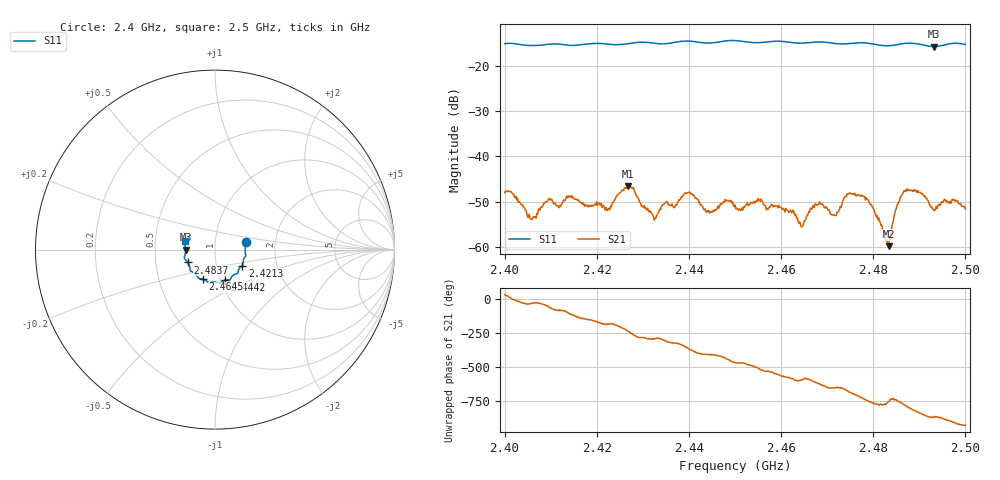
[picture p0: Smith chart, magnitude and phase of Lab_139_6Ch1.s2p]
# Hz S RI R 50
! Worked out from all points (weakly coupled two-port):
!   601 points, 2.4 GHz to 2.5 GHz, reference 50 ohm
!   highest |S21| = -46.62 dB at 2.4268 GHz (marker M1); lowest = -59.9 dB at 2.4833 GHz (marker M2)
!   lowest |S11| = -15.7 dB at 2.4932 GHz (marker M3), VSWR 1.39, Z = 36 - j0.0365 ohm
!   |S11| at or under -10 dB: start of sweep to end of sweep
!   S12 and S22 are empty: the file has one direction only
!   S11 on the Smith chart (normalised r, x): 2.4 GHz: 1.41, +0.12; 2.4213 GHz: 1.33, -0.25; 2.4442 GHz: 1.05, -0.37; 2.4645 GHz: 0.83, -0.29; 2.4837 GHz: 0.73, -0.11; 2.5 GHz: 0.71, +0.07
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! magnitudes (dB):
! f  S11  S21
! 2.4 GHz  -15.1  -48.0
! 2.406 GHz  -15.5  -53.9
! 2.4097 GHz  -15.2  -49.3
! 2.4167 GHz  -15.3  -50.4
! 2.4213 GHz  -15.1  -50.8
! 2.4268 GHz  -15.1  -46.6
! 2.4333 GHz  -15.1  -52.4
! 2.4397 GHz  -14.5  -48.0
! 2.4442 GHz  -15.0  -52.2
! 2.45 GHz  -14.4  -50.7
! 2.4555 GHz  -14.9  -49.9
! 2.4645 GHz  -15.0  -55.5
! 2.4667 GHz  -14.8  -51.7
! 2.4715 GHz  -15.0  -53.0
! 2.4743 GHz  -15.1  -48.3
! 2.4777 GHz  -14.9  -48.7
! 2.4833 GHz  -15.6  -59.9
! 2.4837 GHz  -15.5  -58.1
! 2.485 GHz  -15.3  -51.5
! 2.487 GHz  -15.0  -47.8
! 2.4932 GHz  -15.7  -51.9
! 2.5 GHz  -15.3  -51.7
